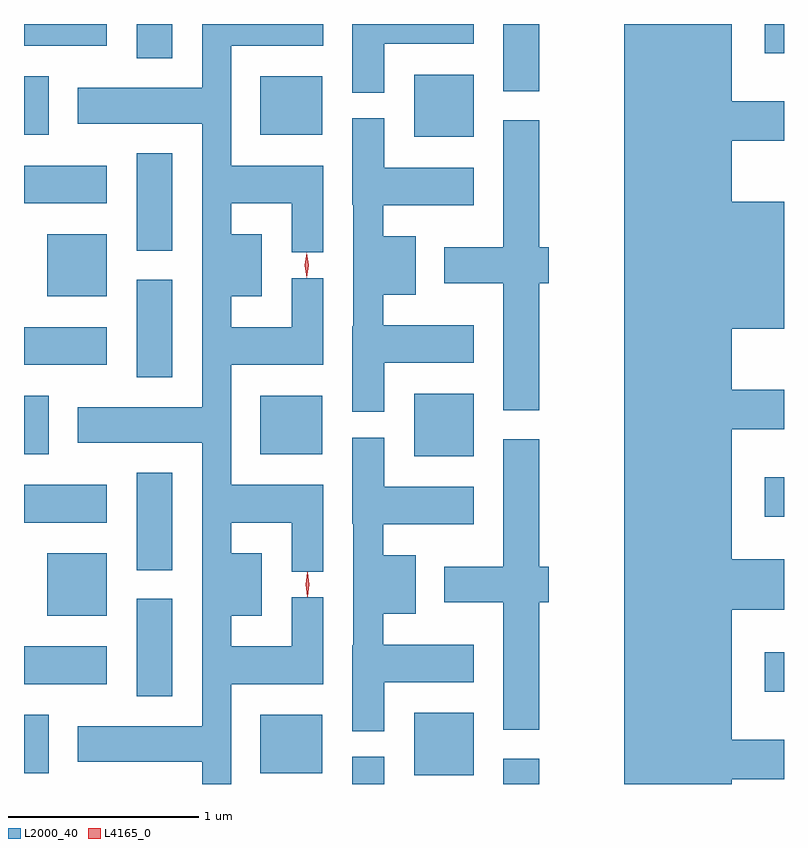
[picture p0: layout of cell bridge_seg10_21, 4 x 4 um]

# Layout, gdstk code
import gdstk
lib = gdstk.Library(unit=1e-6, precision=1e-09)
def R(c, l, rs):  # rectangles x0, y0, x1, y1
    for r in rs: c.add(gdstk.rectangle(r[:2], r[2:], *l))
def A(c, l, x, y, w, h, nx, ny, dx, dy):  # array of equal rectangles
    R(c, l, [(x+i*dx, y+j*dy, x+i*dx+w, y+j*dy+h) for i in range(nx) for j in range(ny)])
def P(c, l, *ps):  # polygons
    for p in ps: c.add(gdstk.Polygon(p, *l))
L2000_40 = (2000, 40)
L4165_0 = (4165, 0)

bridge_seg10_21 = lib.new_cell('bridge_seg10_21')
A(bridge_seg10_21, L2000_40, 1750.696, 2174.886, 0.313, 0.328, 1, 3, 0, 1.68)
A(bridge_seg10_21, L2000_40, 1748.643, 2174.896, 0.131, 0.308, 1, 3, 0, 1.68)
A(bridge_seg10_21, L2000_40, 1749.886, 2174.896, 0.328, 0.308, 1, 3, 0, 1.68)
R(bridge_seg10_21, L2000_40, [(1750.371,2174.84,1750.539,2174.983), (1751.166,2174.84,1751.354,2174.974), (1749.236,2175.301,1749.424,2175.814), (1752.541,2175.326,1752.643,2175.534), (1748.643,2175.366,1749.079,2175.564), (1748.766,2175.726,1749.079,2176.054), (1749.236,2175.966,1749.424,2176.479), (1748.643,2176.216,1749.079,2176.414), (1752.541,2176.246,1752.643,2176.454), (1749.236,2176.981,1749.424,2177.494), (1748.643,2177.046,1749.079,2177.244), (1748.766,2177.406,1749.079,2177.734), (1749.236,2177.646,1749.424,2178.159), (1748.643,2177.896,1749.079,2178.094), (1751.166,2178.486,1751.354,2178.84), (1749.236,2178.661,1749.424,2178.84), (1752.541,2178.686,1752.643,2178.84), (1748.643,2178.726,1749.079,2178.84)])
P(bridge_seg10_21, L2000_40, [(1749.734,2175.366),(1750.219,2175.366),(1750.219,2175.823),(1750.051,2175.823),(1750.051,2175.564),(1749.734,2175.564),(1749.734,2175.726),(1749.894,2175.726),(1749.894,2176.054),(1749.734,2176.054),(1749.734,2176.216),(1750.051,2176.216),(1750.051,2175.958),(1750.219,2175.958),(1750.219,2176.414),(1749.734,2176.414),(1749.734,2177.046),(1750.219,2177.046),(1750.219,2177.503),(1750.051,2177.503),(1750.051,2177.244),(1749.734,2177.244),(1749.734,2177.406),(1749.894,2177.406),(1749.894,2177.734),(1749.734,2177.734),(1749.734,2177.896),(1750.051,2177.896),(1750.051,2177.638),(1750.219,2177.638),(1750.219,2178.094),(1749.734,2178.094),(1749.734,2178.726),(1750.219,2178.726),(1750.219,2178.84),(1749.581,2178.84),(1749.581,2178.504),(1748.926,2178.504),(1748.926,2178.316),(1749.581,2178.316),(1749.581,2176.824),(1748.926,2176.824),(1748.926,2176.636),(1749.581,2176.636),(1749.581,2175.144),(1748.926,2175.144),(1748.926,2174.956),(1749.581,2174.956),(1749.581,2174.84),(1749.734,2174.84)],
  [(1752.369,2174.866),(1752.643,2174.866),(1752.643,2175.074),(1752.369,2175.074),(1752.369,2175.756),(1752.643,2175.756),(1752.643,2176.024),(1752.369,2176.024),(1752.369,2176.706),(1752.643,2176.706),(1752.643,2176.914),(1752.369,2176.914),(1752.369,2177.236),(1752.643,2177.236),(1752.643,2177.904),(1752.369,2177.904),(1752.369,2178.226),(1752.643,2178.226),(1752.643,2178.434),(1752.369,2178.434),(1752.369,2178.84),(1751.801,2178.84),(1751.801,2174.84),(1752.369,2174.84)],
  [(1750.539,2178.736),(1751.009,2178.736),(1751.009,2178.84),(1750.371,2178.84),(1750.371,2178.478),(1750.539,2178.478)],
  [(1750.539,2177.056),(1751.009,2177.056),(1751.009,2177.254),(1750.534,2177.254),(1750.534,2177.416),(1750.704,2177.416),(1750.704,2177.724),(1750.534,2177.724),(1750.534,2177.886),(1751.009,2177.886),(1751.009,2178.084),(1750.539,2178.084),(1750.539,2178.343),(1750.371,2178.343),(1750.371,2177.89),(1750.376,2177.89),(1750.376,2177.25),(1750.371,2177.25),(1750.371,2176.798),(1750.539,2176.798)],
  [(1751.354,2177.476),(1751.404,2177.476),(1751.404,2177.664),(1751.354,2177.664),(1751.354,2178.334),(1751.166,2178.334),(1751.166,2177.664),(1750.856,2177.664),(1750.856,2177.476),(1751.166,2177.476),(1751.166,2176.806),(1751.354,2176.806)],
  [(1750.539,2175.376),(1751.009,2175.376),(1751.009,2175.574),(1750.534,2175.574),(1750.534,2175.736),(1750.704,2175.736),(1750.704,2176.044),(1750.534,2176.044),(1750.534,2176.206),(1751.009,2176.206),(1751.009,2176.404),(1750.539,2176.404),(1750.539,2176.663),(1750.371,2176.663),(1750.371,2176.21),(1750.376,2176.21),(1750.376,2175.57),(1750.371,2175.57),(1750.371,2175.118),(1750.539,2175.118)],
  [(1751.354,2175.796),(1751.404,2175.796),(1751.404,2175.984),(1751.354,2175.984),(1751.354,2176.654),(1751.166,2176.654),(1751.166,2175.984),(1750.856,2175.984),(1750.856,2175.796),(1751.166,2175.796),(1751.166,2175.126),(1751.354,2175.126)])
P(bridge_seg10_21, L4165_0, [(1750.131,2177.504),(1750.131,2177.505),(1750.121,2177.57),(1750.131,2177.635),(1750.131,2177.636),(1750.132,2177.635),(1750.141,2177.57),(1750.132,2177.505)],
  [(1750.135,2175.824),(1750.134,2175.825),(1750.125,2175.89),(1750.134,2175.955),(1750.135,2175.956),(1750.136,2175.955),(1750.145,2175.89),(1750.136,2175.825)])

lib.write_gds('bridge_seg10_21.gds')
